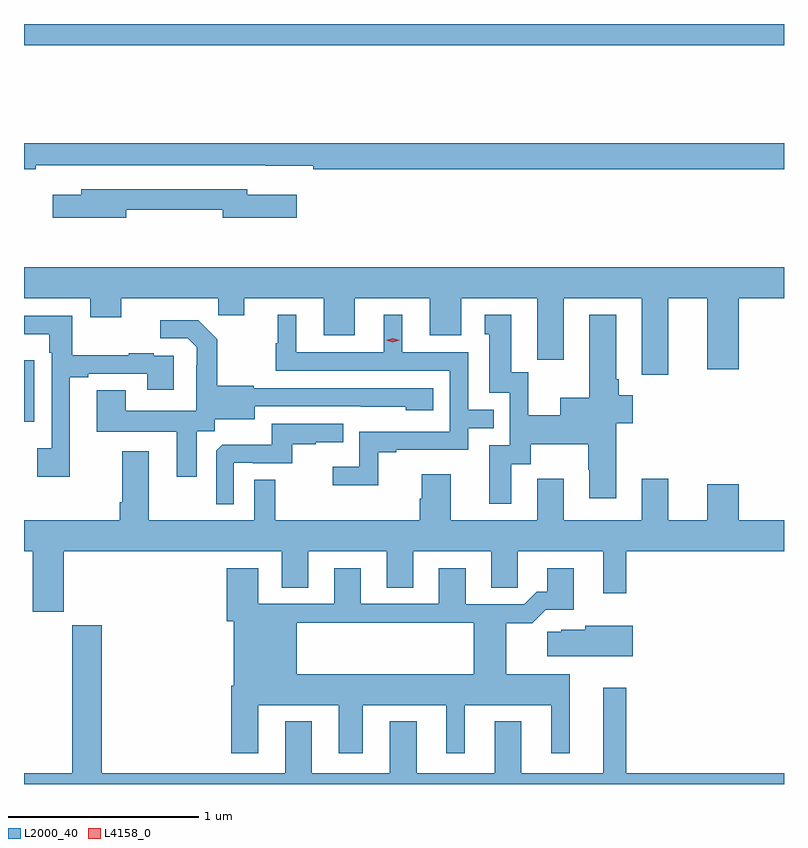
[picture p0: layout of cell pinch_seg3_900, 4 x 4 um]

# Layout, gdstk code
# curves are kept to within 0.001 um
import gdstk
lib = gdstk.Library(unit=1e-6, precision=1e-09)
def R(c, l, rs):  # rectangles x0, y0, x1, y1
    for r in rs: c.add(gdstk.rectangle(r[:2], r[2:], *l))
def P(c, l, *ps):  # polygons
    for p in ps: c.add(gdstk.Polygon(p, *l))
L2000_40 = (2000, 40)
L4158_0 = (4158, 0)

pinch_seg3_900 = lib.new_cell('pinch_seg3_900')
R(pinch_seg3_900, L2000_40, [(820.751,686.946,820.806,687.271), (820.751,688.928,824.751,689.04)])
P(pinch_seg3_900, L2000_40, [(820.814,688.296),(822.022,688.296),(822.022,688.295),(822.274,688.295),(822.274,688.276),(824.751,688.276),(824.751,688.412),(820.751,688.412),(820.751,688.276),(820.814,688.276)],
  [(821.29,688.062),(821.798,688.062),(821.798,688.019),(822.187,688.019),(822.187,688.141),(821.926,688.141),(821.926,688.17),(821.051,688.17),(821.051,688.141),(820.902,688.141),(820.902,688.019),(821.29,688.019)],
  [(820.751,687.596),(821.099,687.596),(821.099,687.497),(821.263,687.497),(821.263,687.596),(821.773,687.596),(821.773,687.506),(821.911,687.506),(821.911,687.596),(822.329,687.596),(822.329,687.402),(822.493,687.402),(822.493,687.596),(822.887,687.596),(822.887,687.402),(823.051,687.402),(823.051,687.596),(823.451,687.596),(823.451,687.385),(823.452,687.385),(823.452,687.273),(823.591,687.273),(823.591,687.596),(824.003,687.596),(824.003,687.195),(824.143,687.195),(824.143,687.596),(824.348,687.596),(824.348,687.222),(824.512,687.222),(824.512,687.596),(824.751,687.596),(824.751,687.76),(820.751,687.76)],
  [(823.315,686.722),(823.417,686.722),(823.417,686.828),(823.72,686.828),(823.72,686.694),(823.727,686.694),(823.727,686.544),(823.867,686.544),(823.867,686.939),(823.954,686.939),(823.954,687.086),(823.88,687.086),(823.88,687.169),(823.867,687.169),(823.867,687.511),(823.727,687.511),(823.727,687.073),(823.574,687.073),(823.574,686.98),(823.404,686.98),(823.404,687.207),(823.315,687.207),(823.315,687.511),(823.175,687.511),(823.175,687.408),(823.199,687.408),(823.199,687.099),(823.308,687.099),(823.308,686.823),(823.199,686.823),(823.199,686.514),(823.315,686.514)],
  [(822.615,686.787),(822.709,686.787),(822.709,686.799),(823.089,686.799),(823.089,686.913),(823.223,686.913),(823.223,687.009),(823.089,687.009),(823.089,687.312),(822.742,687.312),(822.742,687.511),(822.644,687.511),(822.644,687.312),(822.184,687.312),(822.184,687.511),(822.086,687.511),(822.086,687.36),(822.075,687.36),(822.075,687.216),(822.993,687.216),(822.993,686.895),(822.516,686.895),(822.516,686.71),(822.375,686.71),(822.375,686.612),(822.615,686.612)],
  [(820.993,687.18),(821.089,687.18),(821.089,687.198),(821.399,687.198),(821.399,687.114),(821.539,687.114),(821.539,687.294),(821.435,687.294),(821.435,687.307),(821.303,687.307),(821.303,687.296),(821.005,687.296),(821.005,687.504),(820.751,687.504),(820.751,687.407),(820.884,687.407),(820.884,687.311),(820.896,687.311),(820.896,686.806),(820.821,686.806),(820.821,686.658),(820.993,686.658)],
  [(821.659,686.896),(821.754,686.896),(821.754,686.96),(821.965,686.96),(821.965,687.027),(822.759,687.026),(822.759,687.008),(822.904,687.008),(822.904,687.123),(821.961,687.123),(821.961,687.136),(821.769,687.136),(821.769,687.381),(821.669,687.481),(821.469,687.481),(821.469,687.387),(821.613,687.387),(821.66,687.34),(821.66,687.245),(821.658,687.245),(821.658,687.004),(821.287,687.004),(821.287,687.113),(821.135,687.113),(821.135,686.894),(821.555,686.894),(821.555,686.658),(821.659,686.658)],
  [(821.856,686.73),(821.956,686.73),(821.956,686.727),(822.164,686.727),(822.164,686.829),(822.287,686.829),(822.287,686.84),(822.431,686.84),(822.431,686.937),(822.054,686.937),(822.054,686.825),(821.795,686.825),(821.763,686.793),(821.763,686.513),(821.856,686.513)],
  [(820.96,686.264),(822.107,686.264),(822.107,686.074),(822.247,686.074),(822.247,686.264),(822.659,686.264),(822.659,686.074),(822.799,686.074),(822.799,686.264),(823.211,686.264),(823.211,686.074),(823.35,686.074),(823.35,686.264),(823.799,686.264),(823.799,686.043),(823.921,686.043),(823.921,686.264),(824.751,686.264),(824.751,686.428),(824.512,686.428),(824.512,686.617),(824.348,686.617),(824.348,686.428),(824.143,686.428),(824.143,686.647),(824.003,686.647),(824.003,686.428),(823.591,686.428),(823.591,686.647),(823.451,686.647),(823.451,686.428),(822.997,686.428),(822.997,686.671),(822.845,686.671),(822.845,686.541),(822.833,686.541),(822.833,686.428),(822.073,686.428),(822.073,686.642),(821.964,686.642),(821.964,686.428),(821.407,686.428),(821.407,686.791),(821.267,686.791),(821.267,686.524),(821.255,686.524),(821.255,686.428),(820.751,686.428),(820.751,686.264),(820.796,686.264),(820.796,685.947),(820.96,685.947)],
  [(821.843,685.558),(821.843,685.203),(821.983,685.203),(821.983,685.454),(822.407,685.454),(822.407,685.203),(822.535,685.203),(822.535,685.454),(822.974,685.454),(822.974,685.203),(823.072,685.203),(823.072,685.454),(823.526,685.454),(823.526,685.203),(823.624,685.203),(823.624,685.618),(823.288,685.618),(823.288,685.886),(823.427,685.886),(823.497,685.956),(823.645,685.956),(823.645,686.176),(823.505,686.176),(823.505,686.053),(823.45,686.053),(823.383,685.986),(823.075,685.986),(823.075,686.176),(822.935,686.176),(822.935,685.989),(822.523,685.989),(822.523,686.176),(822.383,686.176),(822.383,685.989),(821.983,685.989),(821.983,686.176),(821.819,686.176),(821.819,685.896),(821.855,685.896),(821.855,685.618),(822.187,685.618),(822.187,685.888),(823.118,685.888),(823.118,685.618),(821.855,685.618),(821.855,685.558)],
  [(824.751,685.096),(823.921,685.096),(823.921,685.546),(823.799,685.546),(823.799,685.096),(823.369,685.096),(823.369,685.369),(823.229,685.369),(823.229,685.096),(822.817,685.096),(822.817,685.369),(822.677,685.369),(822.677,685.096),(822.265,685.096),(822.265,685.369),(822.125,685.369),(822.125,685.096),(821.159,685.096),(821.159,685.875),(821.006,685.875),(821.006,685.096),(820.751,685.096),(820.751,685.04),(824.751,685.04)],
  [(823.954,685.873),(823.704,685.873),(823.704,685.852),(823.578,685.852),(823.578,685.841),(823.506,685.841),(823.506,685.712),(823.954,685.712)])
P(pinch_seg3_900, L4158_0, [(822.693,687.365),(822.657,687.375),(822.657,687.375),(822.657,687.375),(822.693,687.385),(822.728,687.375),(822.729,687.375),(822.728,687.375)])

lib.write_gds('pinch_seg3_900.gds')
